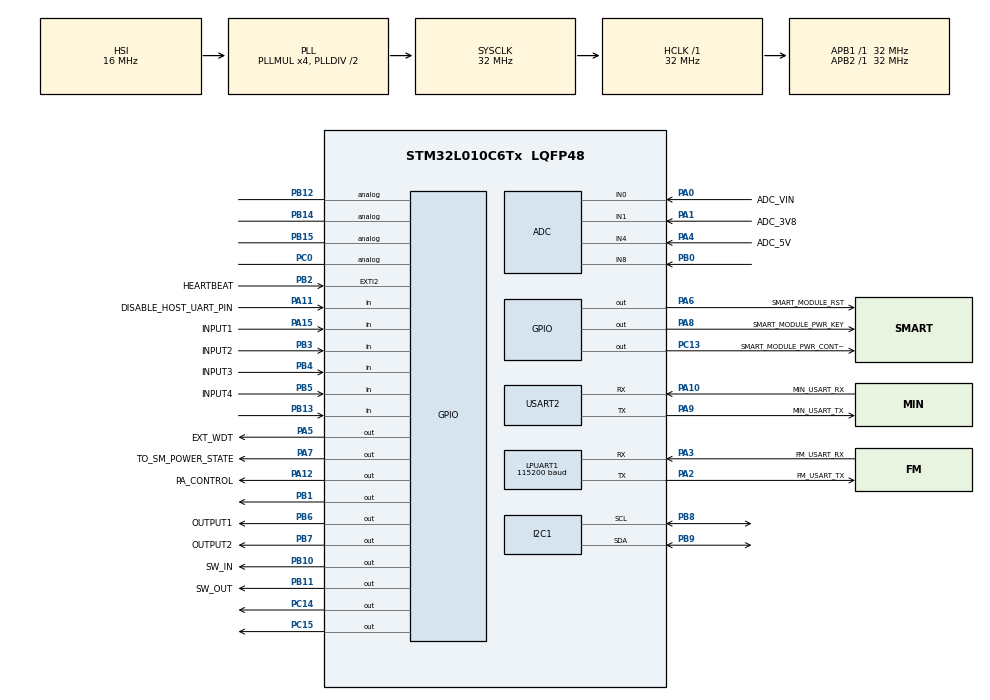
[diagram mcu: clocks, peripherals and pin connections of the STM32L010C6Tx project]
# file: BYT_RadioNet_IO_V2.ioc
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ADC.ClockPrescaler=ADC_CLOCK_SYNC_PCLK_DIV2
ADC.ContinuousConvMode=ENABLE
ADC.DMAContinuousRequests=DISABLE
ADC.EOCSelection=ADC_EOC_SEQ_CONV
ADC.EnableAnalogWatchDog=false
ADC.ExternalTrigConv=ADC_SOFTWARE_START
ADC.SamplingTime=ADC_SAMPLETIME_160CYCLES_5
Dma.LPUART1_RX.0.Direction=DMA_PERIPH_TO_MEMORY
Dma.LPUART1_RX.0.Instance=DMA1_Channel3
Dma.LPUART1_RX.0.MemDataAlignment=DMA_MDATAALIGN_BYTE
Dma.LPUART1_RX.0.MemInc=DMA_MINC_ENABLE
Dma.LPUART1_RX.0.Mode=DMA_CIRCULAR
Dma.LPUART1_RX.0.PeriphDataAlignment=DMA_PDATAALIGN_BYTE
Dma.LPUART1_RX.0.PeriphInc=DMA_PINC_DISABLE
Dma.LPUART1_RX.0.Priority=DMA_PRIORITY_MEDIUM
Dma.LPUART1_TX.1.Direction=DMA_MEMORY_TO_PERIPH
Dma.LPUART1_TX.1.Instance=DMA1_Channel2
Dma.LPUART1_TX.1.MemDataAlignment=DMA_MDATAALIGN_BYTE
Dma.LPUART1_TX.1.MemInc=DMA_MINC_ENABLE
Dma.LPUART1_TX.1.Mode=DMA_NORMAL
Dma.LPUART1_TX.1.PeriphDataAlignment=DMA_PDATAALIGN_BYTE
Dma.LPUART1_TX.1.PeriphInc=DMA_PINC_DISABLE
Dma.LPUART1_TX.1.Priority=DMA_PRIORITY_MEDIUM
Dma.Request0=LPUART1_RX
Dma.Request1=LPUART1_TX
Dma.Request2=USART2_RX
Dma.Request3=USART2_TX
Dma.USART2_RX.2.Direction=DMA_PERIPH_TO_MEMORY
Dma.USART2_RX.2.Instance=DMA1_Channel5
Dma.USART2_RX.2.MemDataAlignment=DMA_MDATAALIGN_BYTE
Dma.USART2_RX.2.MemInc=DMA_MINC_ENABLE
Dma.USART2_RX.2.Mode=DMA_CIRCULAR
Dma.USART2_RX.2.PeriphDataAlignment=DMA_PDATAALIGN_BYTE
Dma.USART2_RX.2.PeriphInc=DMA_PINC_DISABLE
Dma.USART2_RX.2.Priority=DMA_PRIORITY_VERY_HIGH
Dma.USART2_TX.3.Direction=DMA_MEMORY_TO_PERIPH
Dma.USART2_TX.3.Instance=DMA1_Channel4
Dma.USART2_TX.3.MemDataAlignment=DMA_MDATAALIGN_BYTE
Dma.USART2_TX.3.MemInc=DMA_MINC_ENABLE
Dma.USART2_TX.3.Mode=DMA_NORMAL
Dma.USART2_TX.3.PeriphDataAlignment=DMA_PDATAALIGN_BYTE
Dma.USART2_TX.3.PeriphInc=DMA_PINC_DISABLE
Dma.USART2_TX.3.Priority=DMA_PRIORITY_VERY_HIGH
I2C1.Timing=0x00707CBB
IWDG.Prescaler=IWDG_PRESCALER_256
LPUART1.BaudRate=115200
LPUART1.SwapParam=UART_ADVFEATURE_SWAP_DISABLE
LPUART1.WordLength=UART_WORDLENGTH_8B
Mcu.Family=STM32L0
Mcu.Name=STM32L010C6Tx
Mcu.Package=LQFP48
NVIC.ADC1_IRQn=true\:0\:0\:false\:false\:true\:true\:true\:true
NVIC.DMA1_Channel2_3_IRQn=true\:0\:0\:false\:false\:true\:false\:true\:true
NVIC.DMA1_Channel4_5_6_7_IRQn=true\:0\:0\:false\:false\:true\:false\:true\:true
NVIC.EXTI2_3_IRQn=true\:0\:0\:false\:false\:true\:true\:true\:true
NVIC.LPUART1_IRQn=true\:0\:0\:false\:false\:true\:true\:true\:true
NVIC.TIM2_IRQn=true\:0\:0\:false\:false\:true\:true\:true\:true
NVIC.USART2_IRQn=true\:0\:0\:false\:false\:true\:true\:true\:true
PA0.GPIO_Label=ADC_VIN
PA0.Mode=IN0
PA0.Signal=ADC_IN0
PA1.GPIO_Label=ADC_3V8
PA1.Mode=IN1
PA1.Signal=ADC_IN1
PA10.GPIO_Label=MIN_USART_RX
PA10.Mode=Asynchronous
PA10.Signal=USART2_RX
PA11.GPIO_Label=DISABLE_HOST_UART_PIN
PA11.GPIO_PuPd=GPIO_PULLUP
PA11.Signal=GPIO_Input
PA12.GPIO_Label=PA_CONTROL
PA12.GPIO_PuPd=GPIO_PULLUP
PA12.Signal=GPIO_Output
PA13.Mode=Serial_Wire
PA13.Signal=SYS_SWDIO
PA14.Mode=Serial_Wire
PA14.Signal=SYS_SWCLK
PA15.GPIO_Label=INPUT1
PA15.GPIO_PuPd=GPIO_PULLUP
PA15.Signal=GPIO_Input
PA2.GPIO_Label=FM_USART_TX
PA2.Mode=Asynchronous
PA2.Signal=LPUART1_TX
PA3.GPIO_Label=FM_USART_RX
PA3.Mode=Asynchronous
PA3.Signal=LPUART1_RX
PA4.GPIO_Label=ADC_5V
PA4.Mode=IN4
PA4.Signal=ADC_IN4
PA5.GPIO_Label=EXT_WDT
PA5.GPIO_PuPd=GPIO_PULLUP
PA5.GPIO_Speed=GPIO_SPEED_FREQ_LOW
PA5.PinState=GPIO_PIN_SET
PA5.Signal=GPIO_Output
PA6.GPIO_Label=SMART_MODULE_RST
PA6.GPIO_PuPd=GPIO_PULLUP
PA6.GPIO_Speed=GPIO_SPEED_FREQ_LOW
PA6.Signal=GPIO_Output
PA7.GPIO_Label=TO_SM_POWER_STATE
PA7.Signal=GPIO_Output
PA8.GPIO_Label=SMART_MODULE_PWR_KEY
PA8.GPIO_PuPd=GPIO_PULLUP
PA8.PinState=GPIO_PIN_SET
PA8.Signal=GPIO_Output
PA9.GPIO_Label=MIN_USART_TX
PA9.Mode=Asynchronous
PA9.Signal=USART2_TX
PB0.Signal=SharedAnalog_PB0
PB1.Signal=GPIO_Output
PB10.GPIO_Label=SW_IN
PB10.Signal=GPIO_Output
PB11.GPIO_Label=SW_OUT
PB11.Signal=GPIO_Output
PB12.Signal=GPIO_Analog
PB13.Signal=GPIO_Input
PB14.Signal=GPIO_Analog
PB15.Signal=GPIO_Analog
PB2.GPIO_Label=HEARTBEAT
PB2.GPIO_ModeDefaultEXTI=GPIO_MODE_IT_FALLING
PB2.GPIO_PuPd=GPIO_PULLUP
PB2.Signal=GPXTI2
PB3.GPIO_Label=INPUT2
PB3.GPIO_PuPd=GPIO_PULLUP
PB3.Signal=GPIO_Input
PB4.GPIO_Label=INPUT3
PB4.GPIO_PuPd=GPIO_PULLUP
PB4.Signal=GPIO_Input
PB5.GPIO_Label=INPUT4
PB5.GPIO_PuPd=GPIO_PULLUP
PB5.Signal=GPIO_Input
PB6.GPIO_Label=OUTPUT1
PB6.GPIO_PuPd=GPIO_PULLUP
PB6.PinState=GPIO_PIN_SET
PB6.Signal=GPIO_Output
PB7.GPIO_Label=OUTPUT2
PB7.GPIO_PuPd=GPIO_PULLUP
PB7.Signal=GPIO_Output
PB8.Mode=I2C
PB8.Signal=I2C1_SCL
PB9.Mode=I2C
PB9.Signal=I2C1_SDA
PC0.Signal=GPIO_Analog
PC13-ANTI_TAMP.GPIO_Label=SMART_MODULE_PWR_CONTROL
PC13-ANTI_TAMP.GPIO_ModeDefaultOutputPP=GPIO_MODE_OUTPUT_PP
PC13-ANTI_TAMP.GPIO_PuPd=GPIO_PULLUP
PC13-ANTI_TAMP.PinState=GPIO_PIN_SET
PC13-ANTI_TAMP.Signal=GPIO_Output
PC14-OSC32_IN.Signal=GPIO_Output
PC15-OSC32_OUT.Signal=GPIO_Output
ProjectManager.HeapSize=0x200
ProjectManager.StackSize=0x400
ProjectManager.TargetToolchain=MDK-ARM V5.32
RCC.AHBFreq_Value=32000000
RCC.APB1Freq_Value=32000000
RCC.APB1TimFreq_Value=32000000
RCC.APB2Freq_Value=32000000
RCC.APB2TimFreq_Value=32000000
RCC.HCLKFreq_Value=32000000
RCC.HSE_VALUE=8000000
RCC.HSI16_VALUE=16000000
RCC.HSI_VALUE=16000000
RCC.LSE_VALUE=32768
RCC.MSI_VALUE=2097000
RCC.PLLMUL=RCC_PLLMUL_4
RCC.SYSCLKFreq_VALUE=32000000
RCC.SYSCLKSource=RCC_SYSCLKSOURCE_PLLCLK
RCC.VCOOutputFreq_Value=64000000
SH.SharedAnalog_PB0.0=GPIO_Analog
SH.SharedAnalog_PB0.1=ADC_IN8,IN8
TIM2.AutoReloadPreload=TIM_AUTORELOAD_PRELOAD_ENABLE
TIM2.ClockDivision=TIM_CLOCKDIVISION_DIV1
TIM2.Period=50
TIM2.Prescaler=32000
USART2.SwapParam=ADVFEATURE_SWAP_ENABLE
USART2.VirtualMode=VM_ASYNC
VP_ADC_Vref_Input.Mode=IN-Vrefint
VP_IWDG_VS_IWDG.Mode=IWDG_Activate
VP_RTC_VS_RTC_Activate.Mode=RTC_Enabled
VP_TIM2_VS_ClockSourceINT.Mode=Internal
board=custom

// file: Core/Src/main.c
/* USER CODE BEGIN Header */
/**
  ******************************************************************************
  * @file           : main.c
  * @brief          : Main program body
  ******************************************************************************
  * @attention
  *
  * Copyright (c) 2022 STMicroelectronics.
  * All rights reserved.
  *
  * This software is licensed under terms that can be found in the LICENSE file
  * in the root directory of this software component.
  * If no LICENSE file comes with this software, it is provided AS-IS.
  *
  ******************************************************************************
  */
/* USER CODE END Header */
#include "main.h"
#include "adc.h"
#include "dma.h"
#include "i2c.h"
#include "iwdg.h"
#include "usart.h"
#include "rtc.h"
#include "tim.h"
#include "gpio.h"

/* USER CODE BEGIN Includes */
#include "host_data_layer.h"
#include "app_debug.h"
#include "SEGGER_RTT.h"
#include "board_hw.h"
#include "app_cli.h"
#include "app_debug.h"

/* USER CODE END Includes */

void SystemClock_Config(void);

/* USER CODE BEGIN 0 */
static volatile uint32_t m_sys_tick = 0;
static uint32_t rtt_debug_output(const void *data, uint32_t size);
static void task_wdt(void);
// static uint32_t lp_usart_put(const void *data, uint32_t size);
/* USER CODE END 0 */

int main(void)
{

  /* MCU Configuration--------------------------------------------------------*/

  /* Reset of all peripherals, Initializes the Flash interface and the Systick. */
  HAL_Init();

  /* Configure the system clock */
  SystemClock_Config();

  /* USER CODE BEGIN SysInit */
    SysTick_Config(SystemCoreClock/1000);
    NVIC_SetPriority(SysTick_IRQn, 3);
    NVIC_EnableIRQ(SysTick_IRQn);
  /* USER CODE END SysInit */

  /* Initialize all configured peripherals */
  MX_GPIO_Init();
  MX_DMA_Init();
  MX_ADC_Init();
  MX_IWDG_Init();
  MX_LPUART1_UART_Init();
  MX_USART2_UART_Init();
  MX_TIM2_Init();
  MX_I2C1_Init();
  MX_RTC_Init();
  /* USER CODE BEGIN 2 */
    app_debug_init(sys_get_ms, (void*)0);
    app_debug_register_callback_print(rtt_debug_output);
    board_hw_initialize();
    DEBUG_INFO("Application started\r\n");
//    app_debug_register_callback_print(lp_usart_put);
    host_data_layer_initialize();
  /* USER CODE END 2 */

  /* Infinite loop */
  while (1)
  {

    /* USER CODE BEGIN 3 */
      host_data_layer_polling_task((void*)0);
      task_wdt();
  }
  /* USER CODE END 3 */
}

void SystemClock_Config(void)
{
  RCC_OscInitTypeDef RCC_OscInitStruct = {0};
  RCC_ClkInitTypeDef RCC_ClkInitStruct = {0};
  RCC_PeriphCLKInitTypeDef PeriphClkInit = {0};

  /** Configure the main internal regulator output voltage
  */
  __HAL_PWR_VOLTAGESCALING_CONFIG(PWR_REGULATOR_VOLTAGE_SCALE1);

  /** Initializes the RCC Oscillators according to the specified parameters
  * in the RCC_OscInitTypeDef structure.
  */
  RCC_OscInitStruct.OscillatorType = RCC_OSCILLATORTYPE_HSI|RCC_OSCILLATORTYPE_LSI;
  RCC_OscInitStruct.HSIState = RCC_HSI_ON;
  RCC_OscInitStruct.HSICalibrationValue = RCC_HSICALIBRATION_DEFAULT;
  RCC_OscInitStruct.LSIState = RCC_LSI_ON;
  RCC_OscInitStruct.PLL.PLLState = RCC_PLL_ON;
  RCC_OscInitStruct.PLL.PLLSource = RCC_PLLSOURCE_HSI;
  RCC_OscInitStruct.PLL.PLLMUL = RCC_PLLMUL_4;
  RCC_OscInitStruct.PLL.PLLDIV = RCC_PLLDIV_2;
  if (HAL_RCC_OscConfig(&RCC_OscInitStruct) != HAL_OK)
  {
    Error_Handler();
  }

  /** Initializes the CPU, AHB and APB buses clocks
  */
  RCC_ClkInitStruct.ClockType = RCC_CLOCKTYPE_HCLK|RCC_CLOCKTYPE_SYSCLK
                              |RCC_CLOCKTYPE_PCLK1|RCC_CLOCKTYPE_PCLK2;
  RCC_ClkInitStruct.SYSCLKSource = RCC_SYSCLKSOURCE_PLLCLK;
  RCC_ClkInitStruct.AHBCLKDivider = RCC_SYSCLK_DIV1;
  RCC_ClkInitStruct.APB1CLKDivider = RCC_HCLK_DIV1;
  RCC_ClkInitStruct.APB2CLKDivider = RCC_HCLK_DIV1;

  if (HAL_RCC_ClockConfig(&RCC_ClkInitStruct, FLASH_LATENCY_1) != HAL_OK)
  {
    Error_Handler();
  }
  PeriphClkInit.PeriphClockSelection = RCC_PERIPHCLK_USART2|RCC_PERIPHCLK_LPUART1
                              |RCC_PERIPHCLK_I2C1|RCC_PERIPHCLK_RTC;
  PeriphClkInit.Usart2ClockSelection = RCC_USART2CLKSOURCE_PCLK1;
  PeriphClkInit.Lpuart1ClockSelection = RCC_LPUART1CLKSOURCE_PCLK1;
  PeriphClkInit.I2c1ClockSelection = RCC_I2C1CLKSOURCE_PCLK1;
  PeriphClkInit.RTCClockSelection = RCC_RTCCLKSOURCE_LSI;
  if (HAL_RCCEx_PeriphCLKConfig(&PeriphClkInit) != HAL_OK)
  {
    Error_Handler();
  }
}

/* USER CODE BEGIN 4 */
static volatile uint32_t m_delay_ms = 0;
void sys_increase_tick(void)
{
    ++m_sys_tick;
    if (m_delay_ms)
    {
        --m_delay_ms;
    }
    host_data_layer_on_1ms_callback();
}

void sys_delay_ms(uint32_t ms)
{
    __disable_irq();
    m_delay_ms = ms;
    __enable_irq();
    while (m_delay_ms);
}

uint32_t sys_get_ms(void)
{
    return m_sys_tick;
}

static uint32_t rtt_debug_output(const void *data, uint32_t size)
{
    return SEGGER_RTT_Write(0, data, size);
}

//static uint32_t lp_usart_put(const void *data, uint32_t size)
//{
//    return board_hw_fm_lcd_send((uint8_t*)data, size);
//}

static void task_wdt(void)
{
    static uint32_t m_tick = 0;
    if (m_sys_tick - m_tick >= (uint32_t)300)
    {
        m_tick = m_sys_tick;
        board_hw_watchdog_feed();
    }
}

uint32_t HAL_GetTick(void)
{
    return m_sys_tick;
}

/* USER CODE END 4 */

void Error_Handler(void)
{
  /* USER CODE BEGIN Error_Handler_Debug */
  /* User can add his own implementation to report the HAL error return state */
  __disable_irq();
    NVIC_SystemReset();
  while (1)
  {
  }
  /* USER CODE END Error_Handler_Debug */
}

#ifdef  USE_FULL_ASSERT
/**
  * @brief  Reports the name of the source file and the source line number
  *         where the assert_param error has occurred.
  * @param  file: pointer to the source file name
  * @param  line: assert_param error line source number
  * @retval None
  */
void assert_failed(uint8_t *file, uint32_t line)
{
  /* USER CODE BEGIN 6 */
    DEBUG_ERROR("Assert failed %s, line %lu\r\n", line);
    Error_Handler();
  /* User can add his own implementation to report the file name and line number,
     ex: printf("Wrong parameters value: file %s on line %d\r\n", file, line) */
  /* USER CODE END 6 */
}
#endif /* USE_FULL_ASSERT */
